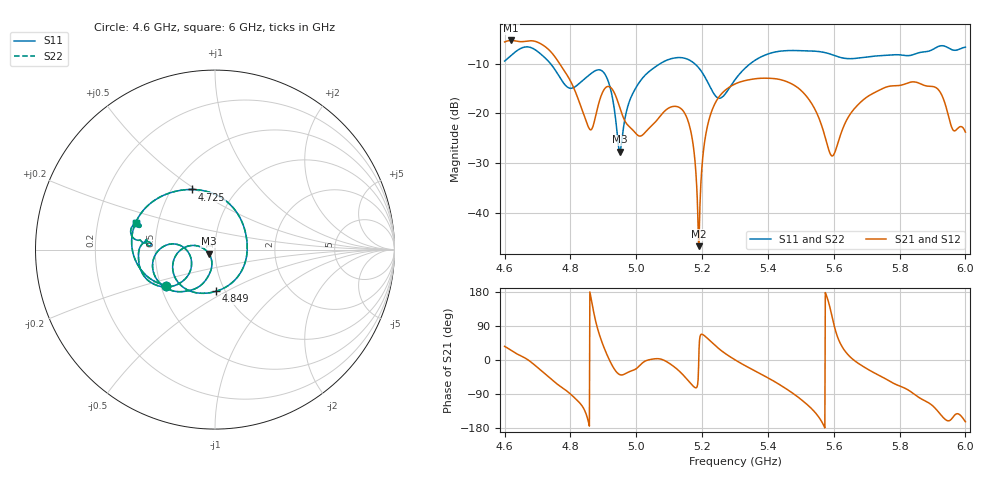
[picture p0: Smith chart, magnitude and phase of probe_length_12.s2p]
! TOUCHSTONE file generated by CST MICROWAVE STUDIO
! Date and time: Sat Nov 30 13:12:02 2024
! Project name: test_tuning.cst
! Parameters = {airCoaxOuterDiameter=3; chamferAngle=45; chamferWidth=24; connectorLength=10; drillingHoleDiameter=4.1; feedLength=60; flareDiameter=130; flareLength=70; gratingDistance=0; gratingGap=1.90274; outletLength=30; polarizerLength=134; probe1Diameter=1.3; probe1Distance=14; probe1Length=1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
! Header version: 2024
! Port assignment regex: !\s*Touchstone port\s*([0-9]+)\s*=\s*(CST MWS port|CST DES external port|CST DES block port)\s*(.+)\s* \(\"(.*)\"\)(\s*mode\s*([0-9]+))?.*
! Touchstone port assignment:
! Touchstone port 1 = CST MWS port 1 ("Input1")
! Touchstone port 2 = CST MWS port 2 ("Input2")
# GHz S MA R 50
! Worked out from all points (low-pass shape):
!   1001 points, 4.6 GHz to 6 GHz, reference 50 ohm
!   highest |S21| = -5.29 dB at 4.62 GHz (marker M1); lowest = -46.8 dB at 5.189 GHz (marker M2)
!   |S21| within 3 dB of the highest: start of sweep to 4.749 GHz
!   lowest |S11| = -27.7 dB at 4.95 GHz (marker M3), VSWR 1.09, Z = 46.7 - j2.16 ohm
!   |S11| at or under -10 dB: 4.74 GHz to 5.072 GHz (331.7 MHz wide, 6.76 % of centre); 5.178 GHz to 5.346 GHz (167.9 MHz wide, 3.19 % of centre)
!   |S22| runs from -27.7 to -6.3 dB; largest |S21 - S12| = 7.2e-07
!   S11 on the Smith chart (normalised r, x): 4.6 GHz: 0.54, -0.24; 4.725 GHz: 0.63, +0.48; 4.849 GHz: 0.91, -0.45; 6 GHz: 0.37, +0.14
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4.6  0.3375 -143.5  0.5257 36.0  0.5257 36.0  0.3375 -143.5
4.6196  0.384 -153.1  0.5441 25.4  0.5441 25.4  0.384 -153.1
4.6686  0.4691 166.8  0.5365 1.8  0.5365 1.8  0.4691 166.8
4.7246  0.3587 111.0  0.4677 -37.7  0.4677 -37.7  0.3587 111.0
4.7792  0.2022 36.2  0.276 -75.6  0.276 -75.6  0.2022 36.2
4.8338  0.2102 -66.0  0.1127 -119.2  0.1127 -119.2  0.2102 -66.0
4.8492  0.2322 -88.4  0.08097 -146.4  0.08097 -146.4  0.2322 -88.4
4.9094  0.2336 -167.1  0.1848 17.3  0.1848 17.3  0.2336 -167.1
4.95  0.04104 -145.7  0.1146 -38.6  0.1146 -38.6  0.04105 -145.7
4.9892  0.1584 -104.9  0.06828 -27.7  0.06828 -27.7  0.1584 -104.9
5.0676  0.3101 -130.8  0.08941 3.4  0.08941 3.4  0.3101 -130.8
5.1516  0.3564 -167.2  0.09404 -48.3  0.09404 -48.3  0.3564 -167.2
5.1726  0.3269 -176.7  0.04887 -68.7  0.04887 -68.7  0.3269 -176.7
5.1894  0.2892 176.7  0.004589 -16.4  0.004589 -16.4  0.2892 176.7
5.223  0.1889 173.8  0.09118 51.6  0.09118 51.6  0.1889 173.8
5.3  0.2185 -135.8  0.198 0.5  0.198 0.5  0.2185 -135.8
5.5338  0.4261 -177.6  0.1244 -129.4  0.1244 -129.4  0.4261 -177.6
5.5954  0.3908 173.8  0.03722 112.7  0.03722 112.7  0.3908 173.8
5.6612  0.3577 176.3  0.1102 -0.4  0.1102 -0.4  0.3577 176.3
5.7676  0.3868 174.2  0.1876 -54.8  0.1876 -54.8  0.3868 174.2
5.9104  0.4606 171.9  0.1822 -129.3  0.1822 -129.3  0.4606 171.9
6  0.4659 161.6  0.0648 -162.9  0.0648 -162.9  0.4659 161.6
